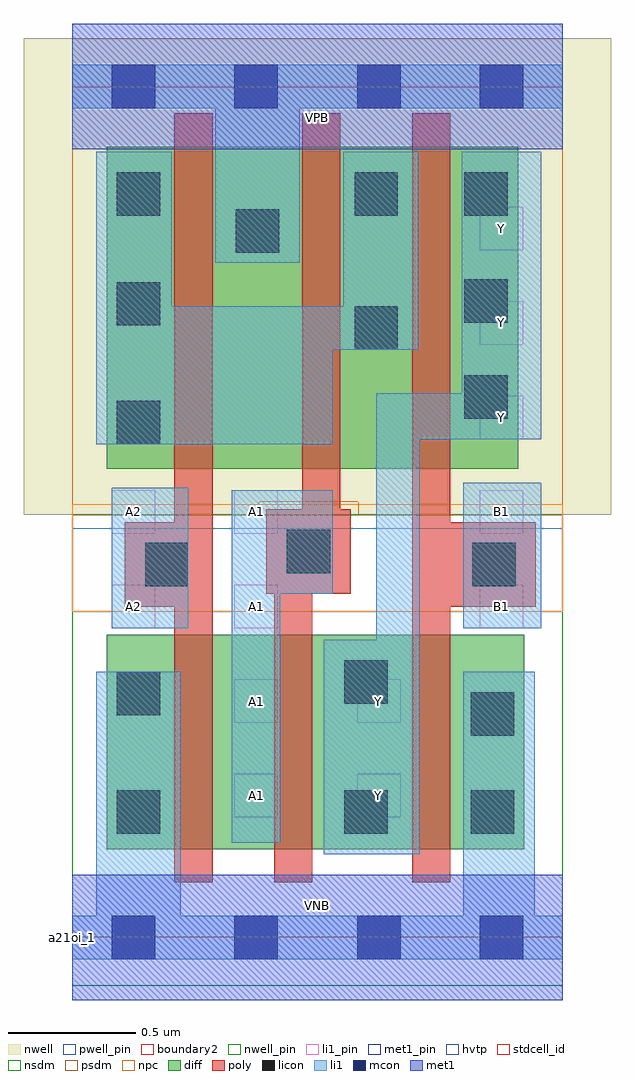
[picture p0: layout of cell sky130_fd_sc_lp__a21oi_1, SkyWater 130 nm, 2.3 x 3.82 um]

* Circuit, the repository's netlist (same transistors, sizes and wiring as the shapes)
* Copyright 2020 The SkyWater PDK Authors
*
* Licensed under the Apache License, Version 2.0 (the "License");
* you may not use this file except in compliance with the License.
* You may obtain a copy of the License at
*
*     https://www.apache.org/licenses/LICENSE-2.0
*
* Unless required by applicable law or agreed to in writing, software
* distributed under the License is distributed on an "AS IS" BASIS,
* WITHOUT WARRANTIES OR CONDITIONS OF ANY KIND, either express or implied.
* See the License for the specific language governing permissions and
* limitations under the License.
*
* SPDX-License-Identifier: Apache-2.0

.SUBCKT sky130_fd_sc_lp__a21oi_1 A1 A2 B1 VGND VNB VPB VPWR Y
*.PININFO A1:I A2:I B1:I VGND:I VNB:I VPB:I VPWR:I Y:O
MMPA0 pndA A1 VPWR VPB sky130_fd_pr__pfet_01v8_hvt m=1 w=1.26U l=0.15U mult=1 sa=0.265
+ sb=0.265 sd=0.28 area=0.063 perim=1.14
MMPA1 pndA A2 VPWR VPB sky130_fd_pr__pfet_01v8_hvt m=1 w=1.26U l=0.15U mult=1 sa=0.265
+ sb=0.265 sd=0.28 area=0.063 perim=1.14
MMPB0 Y B1 pndA VPB sky130_fd_pr__pfet_01v8_hvt m=1 w=1.26U l=0.15U mult=1 sa=0.265
+ sb=0.265 sd=0.28 area=0.063 perim=1.14
MMNA0 Y A1 sndA1 VNB sky130_fd_pr__nfet_01v8 m=1 w=0.84U l=0.15U mult=1 sa=0.265
+ sb=0.265 sd=0.28 area=0.063 perim=1.14
MMNA1 sndA1 A2 VGND VNB sky130_fd_pr__nfet_01v8 m=1 w=0.84U l=0.15U mult=1 sa=0.265
+ sb=0.265 sd=0.28 area=0.063 perim=1.14
MMNB0 Y B1 VGND VNB sky130_fd_pr__nfet_01v8 m=1 w=0.84U l=0.15U mult=1 sa=0.265
+ sb=0.265 sd=0.28 area=0.063 perim=1.14
.ENDS sky130_fd_sc_lp__a21oi_1

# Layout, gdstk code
import gdstk
lib = gdstk.Library(unit=1e-6, precision=1e-09)
def R(c, l, rs):  # rectangles x0, y0, x1, y1
    for r in rs: c.add(gdstk.rectangle(r[:2], r[2:], *l))
def A(c, l, x, y, w, h, nx, ny, dx, dy):  # array of equal rectangles
    R(c, l, [(x+i*dx, y+j*dy, x+i*dx+w, y+j*dy+h) for i in range(nx) for j in range(ny)])
def P(c, l, *ps):  # polygons
    for p in ps: c.add(gdstk.Polygon(p, *l))
nwell_pin = (64, 16)
nwell = (64, 20)
diff = (65, 20)
poly = (66, 20)
licon = (66, 44)
li1_pin = (67, 16)
li1 = (67, 20)
mcon = (67, 44)
met1_pin = (68, 16)
met1 = (68, 20)
hvtp = (78, 44)
stdcell_id = (81, 4)
nsdm = (93, 44)
psdm = (94, 20)
npc = (95, 20)
pwell_pin = (122, 16)
boundary2 = (236, 0)

sky130_fd_sc_lp__a21oi_1 = lib.new_cell('sky130_fd_sc_lp__a21oi_1')
R(sky130_fd_sc_lp__a21oi_1, nwell_pin, [(0,3.085,1.92,3.33)])
R(sky130_fd_sc_lp__a21oi_1, nwell, [(-0.19,1.655,2.11,3.52)])
R(sky130_fd_sc_lp__a21oi_1, diff, [(0.135,0.345,1.77,1.185), (0.135,1.835,1.745,3.095)])
P(sky130_fd_sc_lp__a21oi_1, poly, [(0.55,3.225),(0.4,3.225),(0.4,1.625),(0.205,1.625),(0.205,1.295),(0.4,1.295),(0.4,0.215),(0.55,0.215)],
  [(1.09,1.675),(1.05,1.675),(1.05,3.225),(0.9,3.225),(0.9,1.675),(0.76,1.675),(0.76,1.345),(0.79,1.345),(0.79,0.215),(0.94,0.215),(0.94,1.345),(1.09,1.345)],
  [(1.815,1.625),(1.48,1.625),(1.48,3.225),(1.33,3.225),(1.33,0.215),(1.48,0.215),(1.48,1.295),(1.815,1.295)])
R(sky130_fd_sc_lp__a21oi_1, licon, [(0.175,0.405,0.345,0.575), (1.065,0.405,1.235,0.575), (1.56,0.405,1.73,0.575), (1.56,0.79,1.73,0.96), (0.175,0.87,0.345,1.04), (1.065,0.915,1.235,1.085), (0.285,1.375,0.455,1.545), (1.565,1.375,1.735,1.545), (0.84,1.425,1.01,1.595), (0.175,1.93,0.345,2.1), (1.535,2.03,1.705,2.2), (1.105,2.3,1.275,2.47), (0.175,2.395,0.345,2.565), (1.535,2.405,1.705,2.575), (0.64,2.68,0.81,2.85), (0.175,2.825,0.345,2.995), (1.105,2.825,1.275,2.995), (1.535,2.825,1.705,2.995)])
A(sky130_fd_sc_lp__a21oi_1, li1_pin, 0.635, 0.47, 0.17, 0.17, 1, 4, 0, 0.37)
A(sky130_fd_sc_lp__a21oi_1, li1_pin, 1.595, 1.21, 0.17, 0.17, 1, 5, 0, 0.37)
R(sky130_fd_sc_lp__a21oi_1, li1_pin, [(1.115,0.47,1.285,0.64), (1.115,0.84,1.285,1.01), (0.155,1.21,0.325,1.38), (0.155,1.58,0.325,1.75)])
R(sky130_fd_sc_lp__a21oi_1, li1, [(0.155,1.21,0.455,1.76), (1.53,1.21,1.835,1.78)])
P(sky130_fd_sc_lp__a21oi_1, li1, [(0.56,2.64),(0.56,3.245),(0,3.245),(0,3.415),(1.92,3.415),(1.92,3.245),(0.89,3.245),(0.89,2.64)],
  [(0.095,0.085),(0.095,1.04),(0.425,1.04),(0.425,0.085),(1.53,0.085),(1.53,1.04),(1.81,1.04),(1.81,0.085),(1.92,0.085),(1.92,-0.085),(0,-0.085),(0,0.085)],
  [(1.525,2.13),(1.525,3.075),(1.835,3.075),(1.835,1.95),(1.36,1.95),(1.36,0.325),(0.985,0.325),(0.985,1.165),(1.19,1.165),(1.19,2.13)],
  [(1.355,3.075),(1.06,3.075),(1.06,2.47),(0.39,2.47),(0.39,3.075),(0.095,3.075),(0.095,1.93),(1.02,1.93),(1.02,2.3),(1.355,2.3)],
  [(0.625,0.37),(0.625,1.75),(1.02,1.75),(1.02,1.345),(0.815,1.345),(0.815,0.37)])
A(sky130_fd_sc_lp__a21oi_1, mcon, 0.155, -0.085, 0.17, 0.17, 4, 2, 0.48, 3.33)
R(sky130_fd_sc_lp__a21oi_1, met1_pin, [(0,0,1.92,0.245), (0,3.085,1.92,3.33)])
R(sky130_fd_sc_lp__a21oi_1, met1, [(0,-0.245,1.92,0.245), (0,3.085,1.92,3.575)])
R(sky130_fd_sc_lp__a21oi_1, hvtp, [(0,1.6,1.92,3.33)])
R(sky130_fd_sc_lp__a21oi_1, stdcell_id, [(0,0,1.92,3.33)])
R(sky130_fd_sc_lp__a21oi_1, nsdm, [(0,-0.19,1.92,1.655)])
P(sky130_fd_sc_lp__a21oi_1, psdm, [(1.92,3.52),(0,3.52),(0,1.655),(0.73,1.655),(0.73,1.705),(1.12,1.705),(1.12,1.655),(1.92,1.655)])
R(sky130_fd_sc_lp__a21oi_1, npc, [(0,1.275,1.92,1.695)])
R(sky130_fd_sc_lp__a21oi_1, pwell_pin, [(0,0,1.92,0.245)])
R(sky130_fd_sc_lp__a21oi_1, boundary2, [(0,0,1.92,3.33)])
sky130_fd_sc_lp__a21oi_1.add(gdstk.Label('VNB', (0.96,0.123), layer=64, texttype=59))
sky130_fd_sc_lp__a21oi_1.add(gdstk.Label('VPB', (0.96,3.208), layer=64, texttype=5))
sky130_fd_sc_lp__a21oi_1.add(gdstk.Label('a21oi_1', (0,0), layer=83, texttype=44))
sky130_fd_sc_lp__a21oi_1.add(gdstk.Label('VPWR', (0.96,3.208), layer=68, texttype=5))
sky130_fd_sc_lp__a21oi_1.add(gdstk.Label('VGND', (0.96,0.123), layer=68, texttype=5))
sky130_fd_sc_lp__a21oi_1.add(gdstk.Label('Y', (1.68,2.035), layer=67, texttype=5))
sky130_fd_sc_lp__a21oi_1.add(gdstk.Label('A2', (0.24,1.295), layer=67, texttype=5))
sky130_fd_sc_lp__a21oi_1.add(gdstk.Label('A2', (0.24,1.665), layer=67, texttype=5))
sky130_fd_sc_lp__a21oi_1.add(gdstk.Label('B1', (1.68,1.295), layer=67, texttype=5))
sky130_fd_sc_lp__a21oi_1.add(gdstk.Label('B1', (1.68,1.665), layer=67, texttype=5))
sky130_fd_sc_lp__a21oi_1.add(gdstk.Label('A1', (0.72,0.555), layer=67, texttype=5))
sky130_fd_sc_lp__a21oi_1.add(gdstk.Label('A1', (0.72,0.925), layer=67, texttype=5))
sky130_fd_sc_lp__a21oi_1.add(gdstk.Label('A1', (0.72,1.295), layer=67, texttype=5))
sky130_fd_sc_lp__a21oi_1.add(gdstk.Label('A1', (0.72,1.665), layer=67, texttype=5))
sky130_fd_sc_lp__a21oi_1.add(gdstk.Label('Y', (1.2,0.555), layer=67, texttype=5))
sky130_fd_sc_lp__a21oi_1.add(gdstk.Label('Y', (1.2,0.925), layer=67, texttype=5))
sky130_fd_sc_lp__a21oi_1.add(gdstk.Label('Y', (1.68,2.775), layer=67, texttype=5))
sky130_fd_sc_lp__a21oi_1.add(gdstk.Label('Y', (1.68,2.405), layer=67, texttype=5))

lib.write_gds('sky130_fd_sc_lp__a21oi_1.gds')
